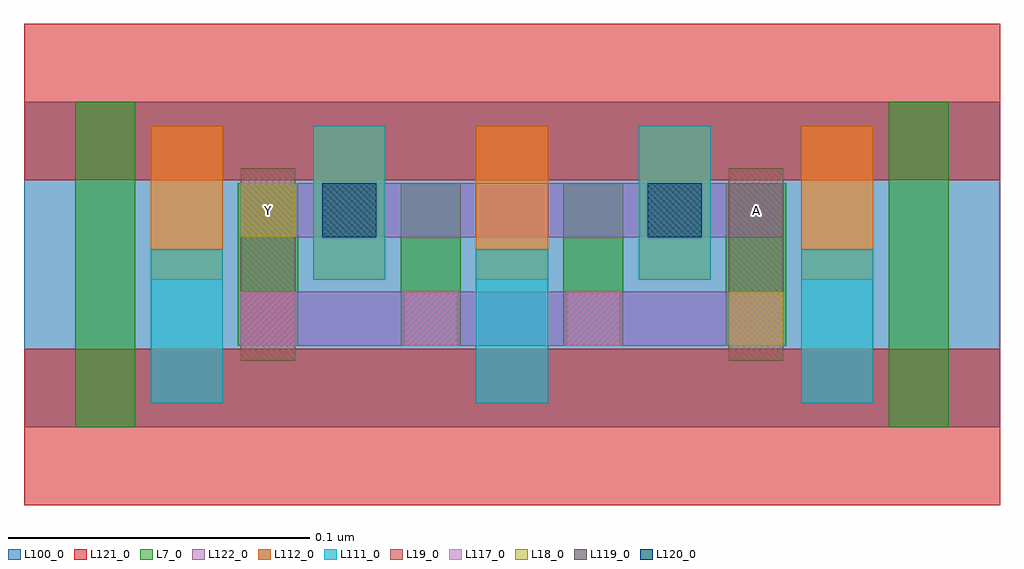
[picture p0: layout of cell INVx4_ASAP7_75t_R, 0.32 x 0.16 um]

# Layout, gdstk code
import gdstk
lib = gdstk.Library(unit=1e-6, precision=2.5e-10)
def R(c, l, rs):  # rectangles x0, y0, x1, y1
    for r in rs: c.add(gdstk.rectangle(r[:2], r[2:], *l))
def A(c, l, x, y, w, h, nx, ny, dx, dy):  # array of equal rectangles
    R(c, l, [(x+i*dx, y+j*dy, x+i*dx+w, y+j*dy+h) for i in range(nx) for j in range(ny)])
L7_0 = (7, 0)
L18_0 = (18, 0)
L19_0 = (19, 0)
L100_0 = (100, 0)
L111_0 = (111, 0)
L112_0 = (112, 0)
L117_0 = (117, 0)
L119_0 = (119, 0)
L120_0 = (120, 0)
L121_0 = (121, 0)
L122_0 = (122, 0)

invx4_asap7_75t_r = lib.new_cell('INVx4_ASAP7_75t_R')
A(invx4_asap7_75t_r, L7_0, 0.071, 0.027, 0.02, 0.054, 4, 1, 0.054, 0)
R(invx4_asap7_75t_r, L7_0, [(0.017,0,0.037,0.108), (0.287,0,0.307,0.108)])
R(invx4_asap7_75t_r, L18_0, [(0.234,0.027,0.252,0.045), (0.072,0.063,0.09,0.081)])
R(invx4_asap7_75t_r, L19_0, [(0.072,0.022,0.09,0.086), (0.234,0.022,0.252,0.086)])
R(invx4_asap7_75t_r, L100_0, [(0,0,0.324,0.108)])
A(invx4_asap7_75t_r, L111_0, 0.042, 0.008, 0.024, 0.051, 3, 1, 0.108, 0)
R(invx4_asap7_75t_r, L111_0, [(0.096,0.049,0.12,0.1), (0.204,0.049,0.228,0.1)])
A(invx4_asap7_75t_r, L112_0, 0.042, 0.049, 0.024, 0.051, 5, 1, 0.054, 0)
A(invx4_asap7_75t_r, L117_0, 0.072, 0.027, 0.018, 0.018, 4, 1, 0.054, 0)
R(invx4_asap7_75t_r, L119_0, [(0.099,0.063,0.117,0.081), (0.207,0.063,0.225,0.081)])
R(invx4_asap7_75t_r, L120_0, [(0.099,0.063,0.117,0.081), (0.207,0.063,0.225,0.081)])
R(invx4_asap7_75t_r, L121_0, [(0,-0.026,0.324,0.026), (0,0.082,0.324,0.134)])
R(invx4_asap7_75t_r, L122_0, [(0.072,0.027,0.252,0.045), (0.072,0.063,0.252,0.081)])
invx4_asap7_75t_r.add(gdstk.Label('Y', (0.081,0.072), layer=19, texttype=251))
invx4_asap7_75t_r.add(gdstk.Label('A', (0.243,0.072), layer=19, texttype=251))

lib.write_gds('INVx4_ASAP7_75t_R.gds')
